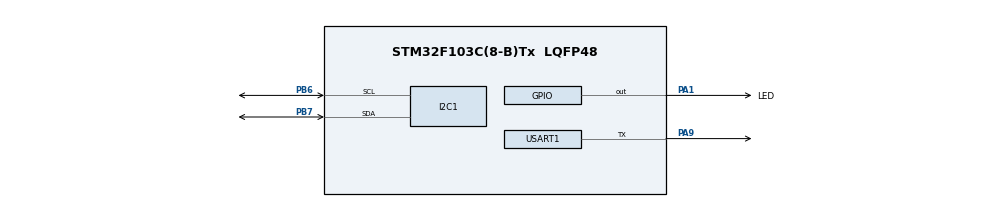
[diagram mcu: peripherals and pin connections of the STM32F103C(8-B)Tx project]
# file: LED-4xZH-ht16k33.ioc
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Mcu.Family=STM32F1
Mcu.Name=STM32F103C(8-B)Tx
Mcu.Package=LQFP48
NVIC.PriorityGroup=NVIC_PRIORITYGROUP_4
PA1.GPIO_Label=LED
PA1.Signal=GPIO_Output
PA13.Mode=Serial_Wire
PA13.Signal=SYS_JTMS-SWDIO
PA14.Mode=Serial_Wire
PA14.Signal=SYS_JTCK-SWCLK
PA9.Mode=Half_duplex(single_wire_mode)
PA9.Signal=USART1_TX
PB6.Mode=I2C
PB6.Signal=I2C1_SCL
PB7.Mode=I2C
PB7.Signal=I2C1_SDA
PD0-OSC_IN.Mode=HSE-External-Oscillator
PD0-OSC_IN.Signal=RCC_OSC_IN
PD1-OSC_OUT.Mode=HSE-External-Oscillator
PD1-OSC_OUT.Signal=RCC_OSC_OUT
ProjectManager.HeapSize=0x200
ProjectManager.StackSize=0x400
ProjectManager.TargetToolchain=STM32CubeIDE
RCC.APB1Freq_Value=8000000
RCC.APB2Freq_Value=8000000
RCC.PLLSourceVirtual=RCC_PLLSOURCE_HSE
RCC.SYSCLKSource=RCC_SYSCLKSOURCE_HSE
RCC.USBFreq_Value=16000000
USART1.BaudRate=9600
USART1.Mode=MODE_TX
USART1.VirtualMode=VM_ASYNC
board=custom

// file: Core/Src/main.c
/* USER CODE BEGIN Header */
/**
  ******************************************************************************
  * @file           : main.c
  * @brief          : Main program body
  ******************************************************************************
  * @attention
  *
  * Copyright (c) 2025 STMicroelectronics.
  * All rights reserved.
  *
  * This software is licensed under terms that can be found in the LICENSE file
  * in the root directory of this software component.
  * If no LICENSE file comes with this software, it is provided AS-IS.
  *
  ******************************************************************************
  */
/* USER CODE END Header */
#include "main.h"
#include "i2c.h"
#include "usart.h"
#include "gpio.h"

/* USER CODE BEGIN Includes */
	#include <stdio.h>
 	#include <string.h>

/* USER CODE END Includes */

/* USER CODE BEGIN PD */
	#define DEBUG_UART 		huart1
	#define DISPLAY_I2C 	hi2c1
	#define HT16K33_ADDR 	(0x70<<1)

/* USER CODE END PD */

/* USER CODE BEGIN PV */
	char debug_buffer[0xff];
	uint16_t cnt = 0x5000;
	const uint16_t font_14seg[] = {
		[0x0] = 0b0000000000111111,
		[0x1] = 0b0000010000000110,
		[0x2] = 0b0000000011011011,
		[0x3] = 0b0000000011001111,
		[0x4] = 0b0000000011100110,
		[0x5] = 0b0000000011101101,
		[0x6] = 0b0000000011111101,
		[0x7] = 0b0000000000000111,
		[0x8] = 0b0000000011111111,
		[0x9] = 0b0000000011101111,
		[0xa] = 0b0000110010000110,
		[0xb] = 0b0000000011111100,
		[0xc] = 0b0000000000111001,
		[0xd] = 0b0000000011011110,
		[0xe] = 0b0000000011111001,
		[0xf] = 0b0000000011110001,
		//[] = 0b1000000000000000, // point
	};

/* USER CODE END PV */

void SystemClock_Config(void);
/* USER CODE BEGIN PFP */
	int 	__io_putchar		(int);
	void 	UartDebug			(char*);
	void 	Scan_I2C_to_UART	(void);
	void	Init_HT16K33		(void);
	void	Print_HT16K33		(uint16_t);

/* USER CODE END PFP */

int main(void)
{

  /* MCU Configuration--------------------------------------------------------*/

  /* Reset of all peripherals, Initializes the Flash interface and the Systick. */
  HAL_Init();

  /* Configure the system clock */
  SystemClock_Config();

  /* Initialize all configured peripherals */
  MX_GPIO_Init();
  MX_I2C1_Init();
  MX_USART1_UART_Init();
  /* USER CODE BEGIN 2 */
	#define 	DATE_as_str 	(__DATE__)
	#define 	TIME_as_str 	(__TIME__)
	printf("\r\n\r\n\tLED-4xZH-ht16k33\r\n");
  //printf("\t%s, %s. \r\n" , DATE_as_str , TIME_as_str);
	printf("\tLED-4xZH-ht16k33\r\n");
	printf("\t0.54"" 14-segment LED HT16K33 BackPack\r\n");
	printf("\tDisplay HT16K33, 6 digit, 14 segments, 0.54"" \r\n");
	printf("\t2541AS\r\n");
	printf("\tCubeMX  6.14\r\n");
	printf("\tCubeIDE 1.18\r\n");
	printf("\tSW-DIO: PA13\r\n");
	printf("\tSW-CLK: PA14\r\n");
	printf("\tI2C1-SCK: PB6\r\n");
	printf("\tI2C1-SDA: PB7\r\n");
	printf("\ttest_LED: PA1\r\n");
	printf("\t   debug: PA9, UART1, 9600\r\n");
  //printf("\tUSART1->BRR: 0x%lx\r\n", USART1->BRR);

	Scan_I2C_to_UART();
	Init_HT16K33();
	Print_HT16K33(0x1234); HAL_Delay(1000);
	Print_HT16K33(0x5678); HAL_Delay(1000);
	Print_HT16K33(0x90ab); HAL_Delay(1000);
	Print_HT16K33(0xcdef); HAL_Delay(1000);
  /* USER CODE END 2 */

  /* Infinite loop */
  /* USER CODE BEGIN WHILE */
  while (1)
  {
		Print_HT16K33(cnt++);
		sprintf(debug_buffer, "0x%x ", cnt); UartDebug(debug_buffer);
		HAL_GPIO_TogglePin(LED_GPIO_Port, LED_Pin);
		HAL_Delay(1000);
    /* USER CODE END WHILE */

  }
}

void SystemClock_Config(void)
{
  RCC_OscInitTypeDef RCC_OscInitStruct = {0};
  RCC_ClkInitTypeDef RCC_ClkInitStruct = {0};

  /** Initializes the RCC Oscillators according to the specified parameters
  * in the RCC_OscInitTypeDef structure.
  */
  RCC_OscInitStruct.OscillatorType = RCC_OSCILLATORTYPE_HSE;
  RCC_OscInitStruct.HSEState = RCC_HSE_ON;
  RCC_OscInitStruct.PLL.PLLState = RCC_PLL_NONE;
  if (HAL_RCC_OscConfig(&RCC_OscInitStruct) != HAL_OK)
  {
    Error_Handler();
  }

  /** Initializes the CPU, AHB and APB buses clocks
  */
  RCC_ClkInitStruct.ClockType = RCC_CLOCKTYPE_HCLK|RCC_CLOCKTYPE_SYSCLK
                              |RCC_CLOCKTYPE_PCLK1|RCC_CLOCKTYPE_PCLK2;
  RCC_ClkInitStruct.SYSCLKSource = RCC_SYSCLKSOURCE_HSE;
  RCC_ClkInitStruct.AHBCLKDivider = RCC_SYSCLK_DIV1;
  RCC_ClkInitStruct.APB1CLKDivider = RCC_HCLK_DIV1;
  RCC_ClkInitStruct.APB2CLKDivider = RCC_HCLK_DIV1;

  if (HAL_RCC_ClockConfig(&RCC_ClkInitStruct, FLASH_LATENCY_0) != HAL_OK)
  {
    Error_Handler();
  }
}

/* USER CODE BEGIN 4 */
void Init_HT16K33 (void) {
	uint8_t cmd;
	cmd = 0x21;     // Увімкнути осцилятор
	HAL_I2C_Master_Transmit(&DISPLAY_I2C, HT16K33_ADDR, &cmd, 1, HAL_MAX_DELAY);

	cmd = 0x81;     // Вивід увімкнено, без миготіння
	HAL_I2C_Master_Transmit(&DISPLAY_I2C, HT16K33_ADDR, &cmd, 1, HAL_MAX_DELAY);

	cmd = 0xEF;     // Яскравість макс.
	HAL_I2C_Master_Transmit(&DISPLAY_I2C, HT16K33_ADDR, &cmd, 1, HAL_MAX_DELAY);
} //**************************************************************************

void Print_HT16K33(uint16_t cipher) {
	uint8_t data[8] = {0};
	uint16_t D = font_14seg[(cipher/   1)%16];
	uint16_t C = font_14seg[(cipher/  16)%16];
	uint16_t B = font_14seg[(cipher/ 256)%16];
	uint16_t A = font_14seg[(cipher/4096)%16];
	data[0] = A & 0xFF;
	data[1] = A >> 8;
	data[2] = B & 0xFF;
	data[3] = B >> 8;
	data[4] = C & 0xFF;
	data[5] = C >> 8;
	data[6] = D & 0xFF;
	data[7] = D >> 8;

	HAL_I2C_Mem_Write(&DISPLAY_I2C, HT16K33_ADDR, 0x00, I2C_MEMADD_SIZE_8BIT, data, 8, HAL_MAX_DELAY);
} //**************************************************************************

int __io_putchar(int ch) {
    HAL_UART_Transmit(&DEBUG_UART, (uint8_t *)&ch, 1, HAL_MAX_DELAY);
    return ch;
}  //**************************************************************************

void UartDebug(char* _text) {
	HAL_UART_Transmit(&DEBUG_UART, (uint8_t*)_text, strlen(_text), 100);
} //**************************************************************************

void Scan_I2C_to_UART(void) {
	char debugChar[100];
	uint8_t device_cnt = 0;
	sprintf(debugChar,"Start scan I2C:\r\n" ); UartDebug(debugChar);

	for ( uint8_t i2c_address = 0x07; i2c_address < 0x78; i2c_address++) {
		if (HAL_I2C_IsDeviceReady( &hi2c1 , i2c_address << 1, 10, 100) == HAL_OK) {
			device_cnt++;
			switch (i2c_address) {
				case 0x23: sprintf(debugChar,"%d) BH1750  ", device_cnt ); break;
				case 0x27: sprintf(debugChar,"%d) FC113   ", device_cnt ); break;
				case 0x20: sprintf(debugChar,"%d) PCF8574 ", device_cnt ); break;
				case 0x38: sprintf(debugChar,"%d) PCF8574 ", device_cnt ); break;
				case 0x3F: sprintf(debugChar,"%d) LCD1602 ", device_cnt ); break;
			  //case 0x57: sprintf(debugChar,"%d) AT24C32 ", device_cnt ); break;
				case 0x57: sprintf(debugChar,"%d) MAX30100", device_cnt ); break;
				case 0x68: sprintf(debugChar,"%d) DS3231  ", device_cnt ); break;
			  //case 0x68: sprintf(debugChar,"%d) MPU9250 ", device_cnt ); break;
				case 0x70: sprintf(debugChar,"%d) HT16K33 ", device_cnt ); break;
				case 0x76: sprintf(debugChar,"%d) BMP280  ", device_cnt ); break;
				case 0x77: sprintf(debugChar,"%d) BMP180  ", device_cnt ); break;
				default:   sprintf(debugChar,"%d) Unknown ", device_cnt ); break;
			}
			char debugChar2[150];
			sprintf(debugChar2,"%s\tAdr: 0x%x\r\n", debugChar, i2c_address); UartDebug(debugChar2);
		} // if HAL I2C1
	} // for()
	sprintf(debugChar,"End scan I2C.\r\n"); UartDebug(debugChar);
} //**************************************************************************
/* USER CODE END 4 */

void Error_Handler(void)
{
  __disable_irq();
  while (1)
  {
  }
}
